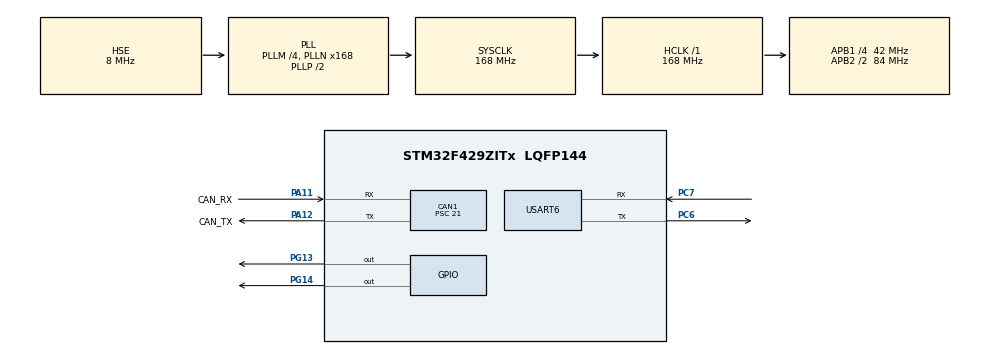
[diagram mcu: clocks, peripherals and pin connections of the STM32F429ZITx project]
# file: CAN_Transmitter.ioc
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CAN1.BS1=CAN_BS1_14TQ
CAN1.BS2=CAN_BS2_5TQ
CAN1.CalculateBaudRate=100000
CAN1.CalculateTimeBit=10000
CAN1.CalculateTimeQuantum=500.0
CAN1.Prescaler=21
Mcu.Family=STM32F4
Mcu.Name=STM32F429ZITx
Mcu.Package=LQFP144
NVIC.CAN1_RX0_IRQn=true\:0\:0\:false\:false\:true\:true\:true\:true
NVIC.CAN1_RX1_IRQn=true\:0\:0\:false\:false\:true\:true\:true\:true
NVIC.CAN1_TX_IRQn=true\:0\:0\:false\:false\:true\:true\:true\:true
NVIC.PriorityGroup=NVIC_PRIORITYGROUP_4
PA11.GPIO_Label=CAN_RX
PA11.Mode=CAN_Activate
PA11.Signal=CAN1_RX
PA12.GPIO_Label=CAN_TX
PA12.Mode=CAN_Activate
PA12.Signal=CAN1_TX
PC6.Mode=Asynchronous
PC6.Signal=USART6_TX
PC7.Mode=Asynchronous
PC7.Signal=USART6_RX
PG13.Signal=GPIO_Output
PG14.Signal=GPIO_Output
PH0/OSC_IN.Mode=HSE-External-Oscillator
PH0/OSC_IN.Signal=RCC_OSC_IN
PH1/OSC_OUT.Mode=HSE-External-Oscillator
PH1/OSC_OUT.Signal=RCC_OSC_OUT
ProjectManager.HeapSize=0x200
ProjectManager.StackSize=0x400
ProjectManager.TargetToolchain=STM32CubeIDE
RCC.48MHZClocksFreq_Value=112000000
RCC.AHBFreq_Value=168000000
RCC.APB1CLKDivider=RCC_HCLK_DIV4
RCC.APB1Freq_Value=42000000
RCC.APB1TimFreq_Value=84000000
RCC.APB2CLKDivider=RCC_HCLK_DIV2
RCC.APB2Freq_Value=84000000
RCC.APB2TimFreq_Value=168000000
RCC.CortexFreq_Value=168000000
RCC.HCLKFreq_Value=168000000
RCC.HSE_VALUE=8000000
RCC.HSI_VALUE=16000000
RCC.LSE_VALUE=32768
RCC.PLLM=4
RCC.PLLN=168
RCC.PLLQ=3
RCC.PLLSAIN=50
RCC.PLLSourceVirtual=RCC_PLLSOURCE_HSE
RCC.SYSCLKFreq_VALUE=168000000
RCC.SYSCLKSource=RCC_SYSCLKSOURCE_PLLCLK
RCC.VCOOutputFreq_Value=336000000
USART6.VirtualMode=VM_ASYNC
board=STM32F429I-DISC1

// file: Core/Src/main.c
/* USER CODE BEGIN Header */
/**
  ******************************************************************************
  * @file           : main.c
  * @brief          : Main program body
  ******************************************************************************
  * @attention
  *
  * Copyright (c) 2024 STMicroelectronics.
  * All rights reserved.
  *
  * This software is licensed under terms that can be found in the LICENSE file
  * in the root directory of this software component.
  * If no LICENSE file comes with this software, it is provided AS-IS.
  *
  ******************************************************************************
  */
/* USER CODE END Header */
#include "main.h"

/* USER CODE BEGIN PTD */
//#define TRANSMIT
#define RECEIVE
/* USER CODE END PTD */

CAN_HandleTypeDef hcan1;

UART_HandleTypeDef huart6;

/* USER CODE BEGIN PV */
uint8_t RxData[8];
uint8_t TxData[8] = {0xAB, 0xCD, 0xEF, 0x01, 0x23, 0x45, 0x67, 0x89};
uint32_t TxMailBox;
CAN_TxHeaderTypeDef TxHeader;
CAN_RxHeaderTypeDef RxHeader;
char uartBuffer[100];
/* USER CODE END PV */

void SystemClock_Config(void);
static void MX_GPIO_Init(void);
static void MX_CAN1_Init(void);
static void MX_USART6_UART_Init(void);

int main(void)
{

  /* MCU Configuration--------------------------------------------------------*/

  /* Reset of all peripherals, Initializes the Flash interface and the Systick. */
  HAL_Init();

  /* Configure the system clock */
  SystemClock_Config();

  /* Initialize all configured peripherals */
  MX_GPIO_Init();
  MX_CAN1_Init();
  MX_USART6_UART_Init();
  /* USER CODE BEGIN 2 */

 TxHeader.StdId = 0x321;
 TxHeader.ExtId = 0x01;
 TxHeader.RTR = CAN_RTR_DATA;
 TxHeader.IDE = CAN_ID_STD;
 TxHeader.DLC = 8;
 TxHeader.TransmitGlobalTime = DISABLE;

 if(HAL_CAN_Start(&hcan1) != HAL_OK)
 {
	 Error_Handler();
 }
#ifdef RECEIVE
/* Interupere RX */
 if (HAL_CAN_ActivateNotification(&hcan1, CAN_IT_RX_FIFO0_MSG_PENDING) != HAL_OK)
 {
     Error_Handler();
 }
#endif

#ifdef TRANSMIT
 /* Intrerupere Tx*/
 if (HAL_CAN_ActivateNotification(&hcan1, CAN_IT_TX_MAILBOX_EMPTY) != HAL_OK)
 {
     Error_Handler();
 }
#endif

  /* USER CODE END 2 */

  /* Infinite loop */
  /* USER CODE BEGIN WHILE */
  while (1)
  {

#ifdef TRANSMIT

	  if(HAL_CAN_AddTxMessage(&hcan1, &TxHeader, TxData, &TxMailBox) != HAL_OK)
	  {
		  Error_Handler();
	  }

#endif

#ifdef RECEIVE

      if (RxHeader.DLC > 0)
       {
           int length = snprintf(uartBuffer, sizeof(uartBuffer), "ID: 0x%03X DLC: %d Data: ", RxHeader.StdId, RxHeader.DLC);

           for (int i = 0; i < RxHeader.DLC; i++)
           {
               length += snprintf(uartBuffer + length, sizeof(uartBuffer) - length, "0x%02X ", RxData[i]);
           }

           strncat(uartBuffer, "\r\n", sizeof(uartBuffer) - length - 1);

           HAL_UART_Transmit(&huart6, (uint8_t *)uartBuffer, strlen(uartBuffer), HAL_MAX_DELAY);
           RxHeader.DLC = 0;
       }

#endif

	  HAL_Delay(1000);
    /* USER CODE END WHILE */

  }
}

void SystemClock_Config(void)
{
  RCC_OscInitTypeDef RCC_OscInitStruct = {0};
  RCC_ClkInitTypeDef RCC_ClkInitStruct = {0};

  /** Configure the main internal regulator output voltage
  */
  __HAL_RCC_PWR_CLK_ENABLE();
  __HAL_PWR_VOLTAGESCALING_CONFIG(PWR_REGULATOR_VOLTAGE_SCALE1);

  /** Initializes the RCC Oscillators according to the specified parameters
  * in the RCC_OscInitTypeDef structure.
  */
  RCC_OscInitStruct.OscillatorType = RCC_OSCILLATORTYPE_HSE;
  RCC_OscInitStruct.HSEState = RCC_HSE_ON;
  RCC_OscInitStruct.PLL.PLLState = RCC_PLL_ON;
  RCC_OscInitStruct.PLL.PLLSource = RCC_PLLSOURCE_HSE;
  RCC_OscInitStruct.PLL.PLLM = 4;
  RCC_OscInitStruct.PLL.PLLN = 168;
  RCC_OscInitStruct.PLL.PLLP = RCC_PLLP_DIV2;
  RCC_OscInitStruct.PLL.PLLQ = 3;
  if (HAL_RCC_OscConfig(&RCC_OscInitStruct) != HAL_OK)
  {
    Error_Handler();
  }

  /** Initializes the CPU, AHB and APB buses clocks
  */
  RCC_ClkInitStruct.ClockType = RCC_CLOCKTYPE_HCLK|RCC_CLOCKTYPE_SYSCLK
                              |RCC_CLOCKTYPE_PCLK1|RCC_CLOCKTYPE_PCLK2;
  RCC_ClkInitStruct.SYSCLKSource = RCC_SYSCLKSOURCE_PLLCLK;
  RCC_ClkInitStruct.AHBCLKDivider = RCC_SYSCLK_DIV1;
  RCC_ClkInitStruct.APB1CLKDivider = RCC_HCLK_DIV4;
  RCC_ClkInitStruct.APB2CLKDivider = RCC_HCLK_DIV2;

  if (HAL_RCC_ClockConfig(&RCC_ClkInitStruct, FLASH_LATENCY_5) != HAL_OK)
  {
    Error_Handler();
  }
}

static void MX_CAN1_Init(void)
{

  hcan1.Instance = CAN1;
  hcan1.Init.Prescaler = 21;
#ifdef TRANSMIT
  hcan1.Init.Mode = CAN_MODE_LOOPBACK;
#endif

#ifdef RECEIVE
  hcan1.Init.Mode = CAN_MODE_SILENT;
#endif
  hcan1.Init.SyncJumpWidth = CAN_SJW_1TQ;
    hcan1.Init.TimeSeg1 = CAN_BS1_14TQ;
    hcan1.Init.TimeSeg2 = CAN_BS2_5TQ;
    hcan1.Init.TimeTriggeredMode = DISABLE;
    hcan1.Init.AutoBusOff = DISABLE;
    hcan1.Init.AutoWakeUp = DISABLE;
    hcan1.Init.AutoRetransmission = DISABLE;
    hcan1.Init.ReceiveFifoLocked = DISABLE;
    hcan1.Init.TransmitFifoPriority = DISABLE;
  if (HAL_CAN_Init(&hcan1) != HAL_OK)
  {
    Error_Handler();
  }
  /* USER CODE BEGIN CAN1_Init 2 */
  CAN_FilterTypeDef sFilterConfig;
  sFilterConfig.FilterBank = 0;
  sFilterConfig.FilterMode = CAN_FILTERMODE_IDMASK;
  sFilterConfig.FilterScale = CAN_FILTERSCALE_32BIT;
  sFilterConfig.FilterIdHigh = 0x0000;
  sFilterConfig.FilterIdLow = 0x0000;
  sFilterConfig.FilterMaskIdHigh = 0x0000;
  sFilterConfig.FilterMaskIdLow = 0x0000;
  sFilterConfig.FilterFIFOAssignment = CAN_FILTER_FIFO0;
  sFilterConfig.FilterActivation = ENABLE;
  sFilterConfig.SlaveStartFilterBank = 14;
  if(HAL_CAN_ConfigFilter(&hcan1, &sFilterConfig) != HAL_OK)
  {
	  Error_Handler();
  }
  /* USER CODE END CAN1_Init 2 */

}

static void MX_USART6_UART_Init(void)
{

  huart6.Instance = USART6;
  huart6.Init.BaudRate = 115200;
  huart6.Init.WordLength = UART_WORDLENGTH_8B;
  huart6.Init.StopBits = UART_STOPBITS_1;
  huart6.Init.Parity = UART_PARITY_NONE;
  huart6.Init.Mode = UART_MODE_TX_RX;
  huart6.Init.HwFlowCtl = UART_HWCONTROL_NONE;
  huart6.Init.OverSampling = UART_OVERSAMPLING_16;
  if (HAL_UART_Init(&huart6) != HAL_OK)
  {
    Error_Handler();
  }

}

static void MX_GPIO_Init(void)
{
  GPIO_InitTypeDef GPIO_InitStruct = {0};

  /* GPIO Ports Clock Enable */
  __HAL_RCC_GPIOH_CLK_ENABLE();
  __HAL_RCC_GPIOC_CLK_ENABLE();
  __HAL_RCC_GPIOA_CLK_ENABLE();
  __HAL_RCC_GPIOG_CLK_ENABLE();

  /*Configure GPIO pin Output Level */
  HAL_GPIO_WritePin(GPIOG, GPIO_PIN_13|GPIO_PIN_14, GPIO_PIN_RESET);

  /*Configure GPIO pins : PG13 PG14 */
  GPIO_InitStruct.Pin = GPIO_PIN_13|GPIO_PIN_14;
  GPIO_InitStruct.Mode = GPIO_MODE_OUTPUT_PP;
  GPIO_InitStruct.Pull = GPIO_NOPULL;
  GPIO_InitStruct.Speed = GPIO_SPEED_FREQ_LOW;
  HAL_GPIO_Init(GPIOG, &GPIO_InitStruct);

}

/* USER CODE BEGIN 4 */

/* CAN RX Interrupt Callback */
void HAL_CAN_RxFifo0MsgPendingCallback(CAN_HandleTypeDef *hcan)
{
    /* Read the received CAN message */
	if(RxHeader.DLC == 0)
	{
		if (HAL_CAN_GetRxMessage(hcan, CAN_RX_FIFO0, &RxHeader, RxData) != HAL_OK)
  	 {
			Error_Handler();
  	 }
	}
	else
	{
		Error_Handler();
	}
    /* Process the received message */
    // For example, toggle an LED or log the received data
}

#ifdef RECEIVE
/* CAN TX Interrupt Callback */
void HAL_CAN_TxMailbox0CompleteCallback(CAN_HandleTypeDef *hcan)
{
    // Transmission completed successfully
}

/* CAN TX Error Callback */
void HAL_CAN_ErrorCallback(CAN_HandleTypeDef *hcan)
{
    // Handle CAN error
    Error_Handler();
}
#endif

/* USER CODE END 4 */

void Error_Handler(void)
{
  __disable_irq();
  while (1)
  {
  }
}
